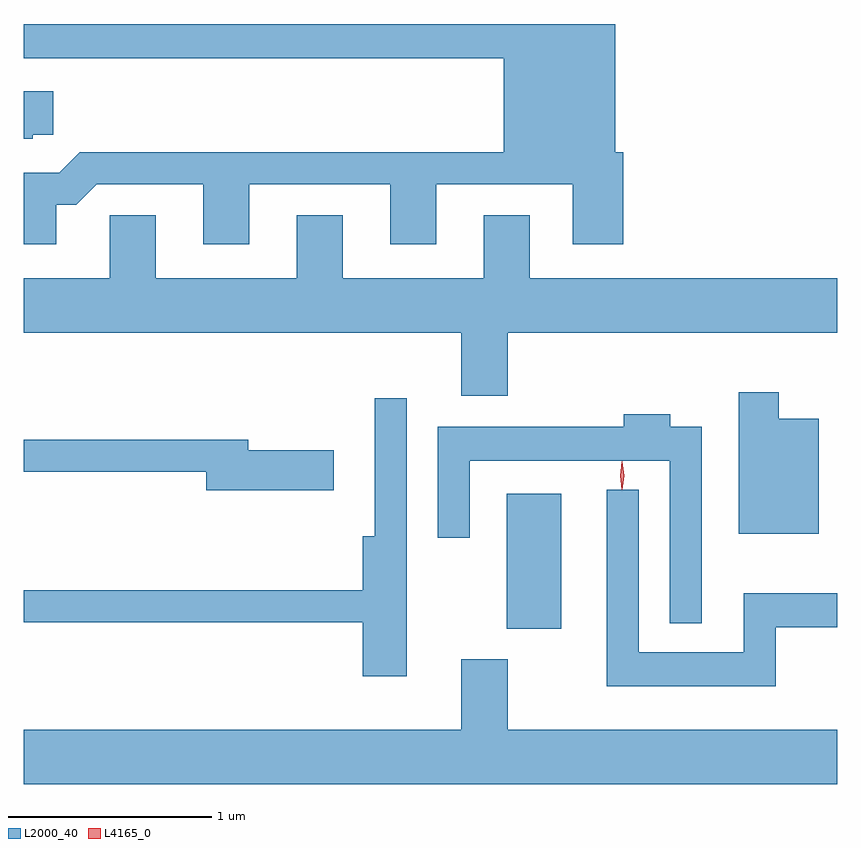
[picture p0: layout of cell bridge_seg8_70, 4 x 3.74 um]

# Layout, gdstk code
import gdstk
lib = gdstk.Library(unit=1e-6, precision=1e-09)
def R(c, l, rs):  # rectangles x0, y0, x1, y1
    for r in rs: c.add(gdstk.rectangle(r[:2], r[2:], *l))
def P(c, l, *ps):  # polygons
    for p in ps: c.add(gdstk.Polygon(p, *l))
L2000_40 = (2000, 40)
L4165_0 = (4165, 0)

bridge_seg8_70 = lib.new_cell('bridge_seg8_70')
R(bridge_seg8_70, L2000_40, [(1522.106,1817.201,1522.374,1817.864)])
P(bridge_seg8_70, L2000_40, [(1519.889,1819.286),(1519.987,1819.286),(1520.087,1819.386),(1520.611,1819.386),(1520.611,1819.091),(1520.839,1819.091),(1520.839,1819.386),(1521.531,1819.386),(1521.531,1819.091),(1521.759,1819.091),(1521.759,1819.386),(1522.431,1819.386),(1522.431,1819.091),(1522.679,1819.091),(1522.679,1819.544),(1522.639,1819.544),(1522.639,1820.175),(1519.73,1820.175),(1519.73,1820.006),(1522.091,1820.006),(1522.091,1819.544),(1520.004,1819.544),(1519.904,1819.444),(1519.73,1819.444),(1519.73,1819.091),(1519.889,1819.091)],
  [(1519.774,1819.631),(1519.874,1819.631),(1519.874,1819.844),(1519.73,1819.844),(1519.73,1819.611),(1519.774,1819.611)],
  [(1522.109,1818.656),(1523.73,1818.656),(1523.73,1818.924),(1522.219,1818.924),(1522.219,1819.234),(1521.991,1819.234),(1521.991,1818.924),(1521.299,1818.924),(1521.299,1819.234),(1521.071,1819.234),(1521.071,1818.924),(1520.379,1818.924),(1520.379,1819.234),(1520.151,1819.234),(1520.151,1818.924),(1519.73,1818.924),(1519.73,1818.656),(1521.881,1818.656),(1521.881,1818.346),(1522.109,1818.346)],
  [(1523.639,1818.234),(1523.444,1818.234),(1523.444,1818.364),(1523.246,1818.364),(1523.246,1817.666),(1523.639,1817.666)],
  [(1521.614,1818.333),(1521.456,1818.333),(1521.456,1817.654),(1521.396,1817.654),(1521.396,1817.389),(1519.73,1817.389),(1519.73,1817.231),(1521.396,1817.231),(1521.396,1816.966),(1521.614,1816.966)],
  [(1523.064,1818.194),(1522.909,1818.194),(1522.909,1818.254),(1522.681,1818.254),(1522.681,1818.194),(1521.766,1818.194),(1521.766,1817.648),(1521.924,1817.648),(1521.924,1818.026),(1522.906,1818.026),(1522.906,1817.228),(1523.064,1817.228)],
  [(1521.254,1818.079),(1520.834,1818.079),(1520.834,1818.129),(1519.73,1818.129),(1519.73,1817.971),(1520.626,1817.971),(1520.626,1817.881),(1521.254,1817.881)],
  [(1523.429,1817.206),(1523.73,1817.206),(1523.73,1817.374),(1523.271,1817.374),(1523.271,1817.084),(1522.754,1817.084),(1522.754,1817.883),(1522.596,1817.883),(1522.596,1816.916),(1523.429,1816.916)],
  [(1523.73,1816.704),(1522.109,1816.704),(1522.109,1817.049),(1521.881,1817.049),(1521.881,1816.704),(1519.73,1816.704),(1519.73,1816.436),(1523.73,1816.436)])
P(bridge_seg8_70, L4165_0, [(1522.672,1817.884),(1522.663,1817.953),(1522.672,1818.022),(1522.673,1818.023),(1522.673,1818.022),(1522.683,1817.953),(1522.673,1817.884),(1522.673,1817.884)])

lib.write_gds('bridge_seg8_70.gds')
